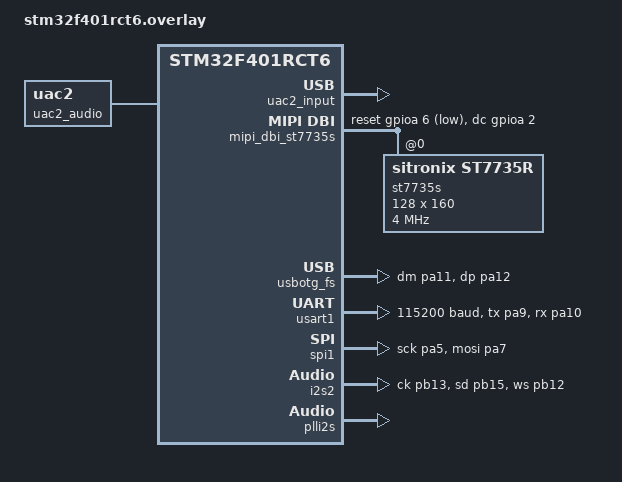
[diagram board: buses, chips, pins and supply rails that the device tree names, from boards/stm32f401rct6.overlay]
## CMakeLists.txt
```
cmake_minimum_required(VERSION 3.20.0)

if(DEFINED ZEPHYR_BASE OR DEFINED ENV{ZEPHYR_BASE})
  find_package(Zephyr REQUIRED HINTS $ENV{ZEPHYR_BASE})
  project(miniaudiodemo_zephyr)

  option(MINIAUDIO_ST7735S_ZPIX_FONT "Enable full ZPix Chinese font logger (large flash usage)" OFF)
  option(MINIAUDIO_ST7735S_DEMO_MAIN "Use minimal ST7735S hello-copilot demo entry" OFF)
  option(MINIAUDIO_PCM5102_ST7735S_MAIN "Use PCM5102A + ST7735S audio demo entry" OFF)
  option(MINIAUDIO_PCM5102_STM32F401_UAC2_MAIN "Use STM32F401 UAC2 receiver + PCM5102A entry" OFF)
  option(MINIAUDIO_PCM5102_STM32H7B0_UAC2_MAIN "Use STM32H7B0 UAC2 receiver + PCM5102A entry" OFF)
  option(MINIAUDIO_PCM5102_ST7735S_UAC2_MAIN "Deprecated alias for the STM32F401 UAC2 entry" OFF)
  option(MINIAUDIO_PCM5102A_TEST_MAIN "Use deterministic PCM5102A writer test entry" OFF)
  option(MINIAUDIO_UAC2_NULL_SINK "Build UAC2 protocol test without PCM output" OFF)
  option(MINIAUDIO_I2S_MAIN "Use direct PCM5102 I2S WAV playback entry" OFF)
  option(MINIAUDIO_STM32H7B0VBT6_DEMO_MAIN "Use minimal STM32H7B0VBT6 hello-serial demo entry" OFF)

  if(MINIAUDIO_PCM5102A_TEST_MAIN)
    target_sources(app PRIVATE
      src/main_pcm5102a_test.c
      src/audio_4_wav_data.c
      src/dspeq/cmsis_eq_stage.c
      /Users/qinshen/go/zephyrproject/CMSIS-DSP/Source/FilteringFunctions/FilteringFunctions.c
      src/pcm5102/pcm5102a_audio.c
      src/dspeq/play_audio_pipeline.c
      src/dspeq/play_pipeline_fanout.c
      src/dspeq/play_pipeline_mix.c
      src/dspeq/play_dsp_common.c
      src/dspeq/play_dsp_plugins.c
      src/dspeq/play_eq_runtime.c
      src/dspeq/eq_low_seq.c
      src/dspeq/play_pipeline.c
      src/dspeq/play_pipeline_eq_stages.c
      src/dspeq/play_eq_linear.c
      src/dspeq/play_eq_dynamic.c
      src/dspeq/play_eq_normal.c
      src/dspeq/play_multiband_dynamics.c)
  elseif(MINIAUDIO_STM32H7B0VBT6_DEMO_MAIN)
    target_sources(app PRIVATE src/main_stm32h7b0vbt6.c)
  elseif(MINIAUDIO_PCM5102_STM32F401_UAC2_MAIN OR
         MINIAUDIO_PCM5102_STM32H7B0_UAC2_MAIN OR
         MINIAUDIO_PCM5102_ST7735S_UAC2_MAIN)
    target_sources(app PRIVATE
      src/uac2/uac2_pcm5102_app.c
      src/pcm5102/play_mcu_zephyr_pcm5102.c
      src/pcm5102/pcm5102a_audio.c
      src/dspeq/play_pipeline_async.c
      src/uac2/uac2_audio_stream.c
      src/uac2/usb_uac2_device.c
      # Vendored + patched STM32 UDC driver (see src/uac2/README.md): adds the
      # isochronous OUT re-arm callback missing upstream (unmerged
      # zephyr#113622), required for UAC2 playback to survive a missed frame.
      # prj_uac2.conf sets CONFIG_UDC_STM32=n so Zephyr's own copy is not
      # also compiled.
      src/uac2/udc_stm32.c)
    if(NOT MINIAUDIO_PCM5102_STM32H7B0_UAC2_MAIN)
      target_sources(app PRIVATE
        src/dspeq/play_audio_pipeline.c
        src/dspeq/play_pipeline_async.c
        src/dspeq/play_pipeline_fanout.c
        src/dspeq/play_pipeline_mix.c
        src/dspeq/play_dsp_common.c
        src/dspeq/play_dsp_plugins.c
        src/dspeq/play_eq_runtime.c
        src/dspeq/eq_low_seq.c
        src/dspeq/play_pipeline.c
        src/dspeq/play_pipeline_eq_stages.c
        src/dspeq/play_eq_linear.c
        src/dspeq/play_eq_dynamic.c
        src/dspeq/play_eq_normal.c
        src/dspeq/play_multiband_dynamics.c
        src/audio_3_wav_data.c)
    endif()
    if(MINIAUDIO_PCM5102_STM32H7B0_UAC2_MAIN)
      target_sources(app PRIVATE src/main_pcm5102_stm32h7b0_uac2.c)
    else()
      target_sources(app PRIVATE src/main_pcm5102_stm32f401_uac2.c)
    endif()
    target_include_directories(app PRIVATE ${ZEPHYR_BASE}/drivers/usb/udc)
    if(MINIAUDIO_UAC2_NULL_SINK)
      target_compile_definitions(app PRIVATE MINIAUDIO_UAC2_NULL_SINK=1)
    endif()
    if(MINIAUDIO_PCM5102_STM32H7B0_UAC2_MAIN)
      target_compile_definitions(app PRIVATE MINIAUDIO_UAC2_H7B0_LITE=1)
    endif()
    if(DTC_OVERLAY_FILE MATCHES "uac2_implicit")
      target_compile_definitions(app PRIVATE MINIAUDIO_UAC2_IMPLICIT=1)
    endif()
  elseif(MINIAUDIO_PCM5102_ST7735S_MAIN)
    target_sources(app PRIVATE
      src/main_pcm5102_st7735s.c
      src/audio_3_wav_data.c
      src/pcm5102/pcm5102a_audio.c
      src/dspeq/play_audio_pipeline.c
      src/dspeq/play_pipeline_fanout.c
      src/dspeq/play_pipeline_mix.c
      src/dspeq/play_dsp_common.c
      src/dspeq/play_dsp_plugins.c
      src/dspeq/play_eq_runtime.c
      src/dspeq/eq_low_seq.c
      src/dspeq/play_pipeline.c
      src/dspeq/play_pipeline_eq_stages.c
      src/dspeq/play_eq_linear.c
      src/dspeq/play_eq_dynamic.c
      src/dspeq/play_eq_normal.c
      src/dspeq/play_multiband_dynamics.c
      src/pcm5102/play_mcu_zephyr_pcm5102.c)
  elseif(MINIAUDIO_I2S_MAIN)
    target_sources(app PRIVATE src/main_i2s.c src/wav_3.c)
  elseif(MINIAUDIO_ST7735S_DEMO_MAIN)
    target_sources(app PRIVATE src/main_st7735s.c)
  else()
    target_sources(app PRIVATE
      src/play_mcu.c
      src/pcm5102/play_mcu_zephyr_pcm5102.c
      src/pcm5102/pcm5102a_audio.c
      src/dspeq/play_audio_pipeline.c
      src/dspeq/play_pipeline_fanout.c
      src/dspeq/play_pipeline_mix.c
      src/dspeq/play_dsp_common.c
      src/dspeq/play_dsp_plugins.c
      src/dspeq/play_eq_runtime.c
      src/dspeq/eq_low_seq.c
      src/dspeq/play_pipeline.c
      src/dspeq/play_pipeline_eq_stages.c
      src/dspeq/play_eq_linear.c
      src/dspeq/play_eq_dynamic.c
      src/dspeq/play_eq_normal.c
      src/dspeq/play_multiband_dynamics.c)
  endif()

  if(MINIAUDIO_ST7735S_ZPIX_FONT)
    target_sources(app PRIVATE
      src/lcd/st7735s_log_display.c
      src/lcd/zpix12_font_data.c)
    target_compile_definitions(app PRIVATE MINIAUDIO_ST7735S_ZPIX_FONT=1)
  elseif(NOT (MINIAUDIO_PCM5102_STM32F401_UAC2_MAIN OR
              MINIAUDIO_PCM5102_STM32H7B0_UAC2_MAIN OR
              MINIAUDIO_PCM5102_ST7735S_UAC2_MAIN))
    # The UAC2 receiver no longer drives the ST7735S screen (see
    # uac2_pcm5102_macos_dev_log.md): serial LOG_INF status covers it, and the
    # stub driver's per-pixel blocking SPI writes were starving the USB stack
    # and audio_out threads for the better part of a second on every refresh.
    target_sources(app PRIVATE src/lcd/st7735s_log_display_stub.c)
  endif()

  target_include_directories(app PRIVATE src src/dspeq src/pcm5102 src/lcd)
  # play_dsp_state's analyzer/observer-tap buffers (4x ANALYZER_WINDOW floats)
  # are unused telemetry on this 64KB-RAM MCU target and previously silently
  # overflowed main()'s stack; shrink them here instead of the 512-sample
  # default used by host builds/tests.
  target_compile_definitions(app PRIVATE ANALYZER_WINDOW=32)
  if(MINIAUDIO_PCM5102A_TEST_MAIN)
    target_include_directories(app PRIVATE
      /Users/qinshen/go/zephyrproject/CMSIS-DSP/Include
      /Users/qinshen/go/zephyrproject/CMSIS-DSP/PrivateInclude)
    target_compile_options(app PRIVATE -Ofast -ffast-math)
  endif()
  if(DEFINED MINIAUDIO_UAC2_PID)
    target_compile_definitions(app PRIVATE MINIAUDIO_UAC2_PID=${MINIAUDIO_UAC2_PID})
  endif()
  target_compile_options(app PRIVATE -Wall -Wno-unused-parameter)
else()
project(miniaudiodemo C)

set(CMAKE_C_STANDARD 11)
option(PLAY_USE_CMSIS_DSP "Use CMSIS-DSP in play_macos and play_mcu" ON)
if(DEFINED PLAY_MACOS_USE_CMSIS_DSP)
  set(PLAY_USE_CMSIS_DSP ${PLAY_MACOS_USE_CMSIS_DSP})
endif()

add_executable(miniaudiodemo src/main.c src/miniaudio/miniaudio.c)

add_executable(three_way_macos src/three_way_crossover_macos_offline.c
                               src/miniaudio/miniaudio.c)

add_executable(play_macos
               src/play_macos.c
               src/httpctl/dsp_http_ctrl.c
               src/dspeq/play_dsp_common.c
               src/dspeq/play_dsp_plugins.c
               src/dspeq/play_eq_runtime.c
               src/dspeq/eq_low_seq.c
               src/dspeq/play_pipeline.c
               src/dspeq/play_pipeline_eq_stages.c
               src/dspeq/play_eq_linear.c
               src/dspeq/play_eq_dynamic.c
               src/dspeq/play_eq_normal.c
               src/dspeq/play_multiband_dynamics.c
               src/miniaudio/miniaudio.c)
add_executable(main_uac2_srv
               src/main_uac2_srv.c
               src/httpctl/dsp_http_ctrl.c
               src/dspeq/play_dsp_common.c
               src/dspeq/play_dsp_plugins.c
               src/dspeq/play_eq_runtime.c
               src/dspeq/eq_low_seq.c
               src/dspeq/play_pipeline.c
               src/dspeq/play_pipeline_eq_stages.c
               src/dspeq/play_eq_linear.c
               src/dspeq/play_eq_dynamic.c
               src/dspeq/play_eq_normal.c
               src/dspeq/play_multiband_dynamics.c
               src/miniaudio/miniaudio.c)
add_executable(play_mcu
               src/play_mcu.c
               src/dspeq/play_audio_pipeline.c
               src/dspeq/play_dsp_common.c
               src/dspeq/play_dsp_plugins.c
               src/dspeq/play_eq_runtime.c
               src/dspeq/eq_low_seq.c
               src/dspeq/play_pipeline.c
               src/dspeq/play_pipeline_eq_stages.c
               src/dspeq/play_eq_linear.c
               src/dspeq/play_eq_dynamic.c
               src/dspeq/play_eq_normal.c
               src/dspeq/play_multiband_dynamics.c)
add_executable(verify_eq_gain
               tests/verify_eq_gain.c
               src/dspeq/play_dsp_common.c
               src/dspeq/play_dsp_plugins.c
               src/dspeq/play_eq_runtime.c
               src/dspeq/eq_low_seq.c
               src/dspeq/play_pipeline.c
               src/dspeq/play_pipeline_eq_stages.c
               src/dspeq/play_eq_linear.c
               src/dspeq/play_eq_dynamic.c
               src/dspeq/play_eq_normal.c
               src/dspeq/play_multiband_dynamics.c)
add_executable(verify_eq_taps
               tests/verify_eq_taps.c
               src/dspeq/play_dsp_common.c
               src/dspeq/play_dsp_plugins.c
               src/dspeq/play_eq_runtime.c
               src/dspeq/eq_low_seq.c
               src/dspeq/play_pipeline.c
               src/dspeq/play_pipeline_eq_stages.c
               src/dspeq/play_eq_linear.c
               src/dspeq/play_eq_dynamic.c
               src/dspeq/play_eq_normal.c
               src/dspeq/play_multiband_dynamics.c)
add_executable(verify_eq_linear_mono
               tests/verify_eq_linear_mono.c
               src/dspeq/play_eq_linear.c
               src/miniaudio/miniaudio.c)
add_executable(verify_eq_low_seq
               tests/test_eq_low_seq.c
               src/dspeq/eq_low_seq.c)
add_executable(test_eq_dynamic
               tests/test_eq_dynamic.c
               src/dspeq/play_eq_dynamic.c)
add_executable(test_eq_normal
               tests/test_eq_normal.c
               src/dspeq/play_eq_normal.c)
add_executable(test_eq_linear
               tests/test_eq_linear.c
               src/dspeq/play_eq_linear.c)
add_executable(test_pipeline_chain
               tests/test_pipeline_chain.c
               src/dspeq/play_pipeline.c
               src/dspeq/play_pipeline_eq_stages.c
               src/dspeq/play_eq_runtime.c
               src/dspeq/eq_low_seq.c
               src/dspeq/play_eq_linear.c
               src/dspeq/play_eq_dynamic.c
               src/dspeq/play_eq_normal.c
               src/dspeq/play_multiband_dynamics.c)
add_executable(test_pipeline_cross_platform
               tests/test_pipeline_cross_platform.c
               src/dspeq/play_audio_pipeline.c
               src/dspeq/play_dsp_common.c
               src/dspeq/play_dsp_plugins.c
               src/dspeq/play_eq_runtime.c
               src/dspeq/eq_low_seq.c
               src/dspeq/play_pipeline.c
               src/dspeq/play_pipeline_eq_stages.c
               src/dspeq/play_eq_linear.c
               src/dspeq/play_eq_dynamic.c
               src/dspeq/play_eq_normal.c
               src/dspeq/play_multiband_dynamics.c)
add_executable(test_pipeline_fanout
               tests/test_pipeline_fanout.c
               src/dspeq/play_pipeline_fanout.c
               src/dspeq/play_pipeline.c)
add_executable(test_pipeline_mix
               tests/test_pipeline_mix.c
               src/dspeq/play_pipeline_mix.c
               src/dspeq/play_pipeline.c)
add_executable(test_channel_plan
               tests/test_channel_plan.c
               src/dspeq/play_channel_plan.c)
set(MINIAUDIO_APP_INCLUDE_DIRS
  src
  src/dspeq
  src/httpctl
  src/lcd
  src/pcm5102)
target_include_directories(miniaudiodemo PRIVATE ${MINIAUDIO_APP_INCLUDE_DIRS})
target_include_directories(three_way_macos PRIVATE ${MINIAUDIO_APP_INCLUDE_DIRS})
target_include_directories(play_macos PRIVATE ${MINIAUDIO_APP_INCLUDE_DIRS})
target_include_directories(main_uac2_srv PRIVATE ${MINIAUDIO_APP_INCLUDE_DIRS})
target_include_directories(play_mcu PRIVATE ${MINIAUDIO_APP_INCLUDE_DIRS})
target_include_directories(verify_eq_gain PRIVATE ${MINIAUDIO_APP_INCLUDE_DIRS})
target_include_directories(verify_eq_taps PRIVATE ${MINIAUDIO_APP_INCLUDE_DIRS})
target_include_directories(verify_eq_linear_mono PRIVATE ${MINIAUDIO_APP_INCLUDE_DIRS})
target_include_directories(verify_eq_low_seq PRIVATE ${MINIAUDIO_APP_INCLUDE_DIRS})
target_include_directories(test_eq_dynamic PRIVATE ${MINIAUDIO_APP_INCLUDE_DIRS})
target_include_directories(test_eq_normal PRIVATE ${MINIAUDIO_APP_INCLUDE_DIRS})
target_include_directories(test_eq_linear PRIVATE ${MINIAUDIO_APP_INCLUDE_DIRS})
target_include_directories(test_pipeline_chain PRIVATE ${MINIAUDIO_APP_INCLUDE_DIRS})
target_include_directories(test_pipeline_cross_platform PRIVATE ${MINIAUDIO_APP_INCLUDE_DIRS})
target_include_directories(test_pipeline_fanout PRIVATE ${MINIAUDIO_APP_INCLUDE_DIRS})
target_include_directories(test_pipeline_mix PRIVATE ${MINIAUDIO_APP_INCLUDE_DIRS})
target_include_directories(test_channel_plan PRIVATE ${MINIAUDIO_APP_INCLUDE_DIRS})

if(PLAY_USE_CMSIS_DSP)
  set(CMSIS_DSP_DIR "${CMAKE_SOURCE_DIR}/../CMSIS-DSP")
  if(EXISTS "${CMSIS_DSP_DIR}/CMakeLists.txt")
    set(HOST ON CACHE BOOL "Build CMSIS-DSP for host" FORCE)
    set(DISABLEFLOAT16 ON CACHE BOOL "Disable float16 kernels" FORCE)
    add_subdirectory(${CMSIS_DSP_DIR} ${CMAKE_BINARY_DIR}/cmsis-dsp)
    target_link_libraries(play_macos PRIVATE CMSISDSP)
    target_link_libraries(main_uac2_srv PRIVATE CMSISDSP)
    target_link_libraries(play_mcu PRIVATE CMSISDSP)
    target_link_libraries(verify_eq_gain PRIVATE CMSISDSP)
    target_link_libraries(verify_eq_taps PRIVATE CMSISDSP)
    target_link_libraries(verify_eq_linear_mono PRIVATE CMSISDSP)
    target_link_libraries(verify_eq_low_seq PRIVATE CMSISDSP)
    target_link_libraries(test_eq_linear PRIVATE CMSISDSP)
    target_compile_definitions(play_macos PRIVATE USE_CMSIS_DSP=1)
    target_compile_definitions(main_uac2_srv PRIVATE USE_CMSIS_DSP=1)
    target_compile_definitions(play_mcu PRIVATE USE_CMSIS_DSP=1)
    target_compile_definitions(verify_eq_gain PRIVATE USE_CMSIS_DSP=1)
    target_compile_definitions(verify_eq_taps PRIVATE USE_CMSIS_DSP=1)
    target_compile_definitions(test_eq_linear PRIVATE USE_CMSIS_DSP=1)
  else()
    message(WARNING "CMSIS-DSP not found at ${CMSIS_DSP_DIR}; play_macos/play_mcu will use libc math fallback.")
  endif()
endif()

if(APPLE)
  target_link_libraries(
    miniaudiodemo PRIVATE "-framework CoreAudio" "-framework CoreFoundation"
                          "-framework AudioToolbox")
elseif(UNIX)
  target_link_libraries(miniaudiodemo PRIVATE pthread m dl)
endif()

if(APPLE)
  target_link_libraries(
    play_macos PRIVATE "-framework CoreAudio" "-framework CoreFoundation"
                       "-framework AudioToolbox")
  target_link_libraries(
    main_uac2_srv PRIVATE "-framework CoreAudio" "-framework CoreFoundation"
                         "-framework AudioToolbox")
elseif(UNIX)
  target_link_libraries(play_macos PRIVATE pthread m dl)
  target_link_libraries(main_uac2_srv PRIVATE pthread m dl)
endif()

if(APPLE)
  target_link_libraries(verify_eq_gain PRIVATE m)
  target_link_libraries(verify_eq_taps PRIVATE m)
  target_link_libraries(
    verify_eq_linear_mono PRIVATE "-framework CoreAudio" "-framework CoreFoundation"
                                 "-framework AudioToolbox")
  target_link_libraries(verify_eq_low_seq PRIVATE m)
  target_link_libraries(test_eq_dynamic PRIVATE m)
  target_link_libraries(test_eq_normal PRIVATE m)
  target_link_libraries(test_eq_linear PRIVATE m)
  target_link_libraries(test_pipeline_chain PRIVATE m)
  target_link_libraries(test_pipeline_cross_platform PRIVATE m)
  target_link_libraries(test_pipeline_fanout PRIVATE m)
  target_link_libraries(test_pipeline_mix PRIVATE m)
  target_link_libraries(test_channel_plan PRIVATE m)
elseif(UNIX)
  target_link_libraries(verify_eq_gain PRIVATE pthread m dl)
  target_link_libraries(verify_eq_taps PRIVATE pthread m dl)
  target_link_libraries(verify_eq_linear_mono PRIVATE pthread m dl)
  target_link_libraries(verify_eq_low_seq PRIVATE pthread m dl)
  target_link_libraries(test_eq_dynamic PRIVATE pthread m dl)
  target_link_libraries(test_eq_normal PRIVATE pthread m dl)
  target_link_libraries(test_eq_linear PRIVATE pthread m dl)
  target_link_libraries(test_pipeline_chain PRIVATE pthread m dl)
  target_link_libraries(test_pipeline_cross_platform PRIVATE pthread m dl)
  target_link_libraries(test_pipeline_fanout PRIVATE pthread m dl)
  target_link_libraries(test_pipeline_mix PRIVATE pthread m dl)
  target_link_libraries(test_channel_plan PRIVATE pthread m dl)
endif()

if(APPLE)
  target_link_libraries(
    three_way_macos PRIVATE "-framework CoreAudio" "-framework CoreFoundation"
                            "-framework AudioToolbox")
elseif(UNIX)
  target_link_libraries(three_way_macos PRIVATE pthread m dl)
endif()

target_compile_options(miniaudiodemo PRIVATE -Wall -Wno-unused-parameter)
target_compile_options(three_way_macos PRIVATE -Wall -Wno-unused-parameter)
target_compile_options(play_macos PRIVATE -Wall -Wno-unused-parameter)
target_compile_options(main_uac2_srv PRIVATE -Wall -Wno-unused-parameter)
target_compile_options(play_mcu PRIVATE -Wall -Wno-unused-parameter)
target_compile_options(verify_eq_gain PRIVATE -Wall -Wno-unused-parameter)
target_compile_options(verify_eq_taps PRIVATE -Wall -Wno-unused-parameter)
target_compile_options(verify_eq_linear_mono PRIVATE -Wall -Wno-unused-parameter)
target_compile_options(verify_eq_low_seq PRIVATE -Wall -Wno-unused-parameter)
target_compile_options(test_eq_dynamic PRIVATE -Wall -Wno-unused-parameter)
target_compile_options(test_eq_normal PRIVATE -Wall -Wno-unused-parameter)
target_compile_options(test_eq_linear PRIVATE -Wall -Wno-unused-parameter)
target_compile_options(test_pipeline_chain PRIVATE -Wall -Wno-unused-parameter)
target_compile_options(test_pipeline_cross_platform PRIVATE -Wall -Wno-unused-parameter)
target_compile_options(test_pipeline_fanout PRIVATE -Wall -Wno-unused-parameter)
target_compile_options(test_pipeline_mix PRIVATE -Wall -Wno-unused-parameter)
target_compile_options(test_channel_plan PRIVATE -Wall -Wno-unused-parameter)

# 编译后把可执行文件复制到项目根目录，方便直接运行（test.wav 也在根目录）
add_custom_command(
  TARGET miniaudiodemo
  POST_BUILD
  COMMAND ${CMAKE_COMMAND} -E copy $<TARGET_FILE:miniaudiodemo>
          ${CMAKE_SOURCE_DIR}/miniaudiodemo
  COMMENT "Copied miniaudiodemo to project root")
# 编译后把可执行文件复制到项目根目录，方便直接运行（test.wav 也在根目录）
add_custom_command(
  TARGET three_way_macos
  POST_BUILD
  COMMAND ${CMAKE_COMMAND} -E copy $<TARGET_FILE:three_way_macos>
          ${CMAKE_SOURCE_DIR}/three_way_macos
  COMMENT "Copied three_way_macos to project root")

# 编译后把可执行文件复制到项目根目录，方便直接运行（test.wav 也在根目录）
add_custom_command(
  TARGET play_macos
  POST_BUILD
  COMMAND ${CMAKE_COMMAND} -E copy $<TARGET_FILE:play_macos>
          ${CMAKE_SOURCE_DIR}/play_macos
  COMMENT "Copied play_macos to project root")

add_custom_command(
  TARGET play_mcu
  POST_BUILD
  COMMAND ${CMAKE_COMMAND} -E copy $<TARGET_FILE:play_mcu>
    ${CMAKE_SOURCE_DIR}/play_mcu
  COMMENT "Copied play_mcu to project root")

add_custom_command(
  TARGET verify_eq_gain
  POST_BUILD
  COMMAND ${CMAKE_COMMAND} -E copy $<TARGET_FILE:verify_eq_gain>
    ${CMAKE_SOURCE_DIR}/verify_eq_gain
  COMMENT "Copied verify_eq_gain to project root")

add_custom_command(
  TARGET verify_eq_taps
  POST_BUILD
  COMMAND ${CMAKE_COMMAND} -E copy $<TARGET_FILE:verify_eq_taps>
    ${CMAKE_SOURCE_DIR}/verify_eq_taps
  COMMENT "Copied verify_eq_taps to project root")

add_custom_command(
  TARGET verify_eq_linear_mono
  POST_BUILD
  COMMAND ${CMAKE_COMMAND} -E copy $<TARGET_FILE:verify_eq_linear_mono>
    ${CMAKE_SOURCE_DIR}/verify_eq_linear_mono
  COMMENT "Copied verify_eq_linear_mono to project root")

add_custom_command(
  TARGET verify_eq_low_seq
  POST_BUILD
  COMMAND ${CMAKE_COMMAND} -E copy $<TARGET_FILE:verify_eq_low_seq>
    ${CMAKE_SOURCE_DIR}/verify_eq_low_seq
  COMMENT "Copied verify_eq_low_seq to project root")

add_custom_command(
  TARGET test_eq_dynamic
  POST_BUILD
  COMMAND ${CMAKE_COMMAND} -E copy $<TARGET_FILE:test_eq_dynamic>
    ${CMAKE_SOURCE_DIR}/test_eq_dynamic
  COMMENT "Copied test_eq_dynamic to project root")

add_custom_command(
  TARGET test_eq_normal
  POST_BUILD
  COMMAND ${CMAKE_COMMAND} -E copy $<TARGET_FILE:test_eq_normal>
    ${CMAKE_SOURCE_DIR}/test_eq_normal
  COMMENT "Copied test_eq_normal to project root")

add_custom_command(
  TARGET test_eq_linear
  POST_BUILD
  COMMAND ${CMAKE_COMMAND} -E copy $<TARGET_FILE:test_eq_linear>
    ${CMAKE_SOURCE_DIR}/test_eq_linear
  COMMENT "Copied test_eq_linear to project root")

add_custom_command(
  TARGET test_pipeline_chain
  POST_BUILD
  COMMAND ${CMAKE_COMMAND} -E copy $<TARGET_FILE:test_pipeline_chain>
    ${CMAKE_SOURCE_DIR}/test_pipeline_chain
  COMMENT "Copied test_pipeline_chain to project root")

add_custom_command(
  TARGET test_pipeline_cross_platform
  POST_BUILD
  COMMAND ${CMAKE_COMMAND} -E copy $<TARGET_FILE:test_pipeline_cross_platform>
    ${CMAKE_SOURCE_DIR}/test_pipeline_cross_platform
  COMMENT "Copied test_pipeline_cross_platform to project root")

add_custom_command(
  TARGET test_pipeline_fanout
  POST_BUILD
  COMMAND ${CMAKE_COMMAND} -E copy $<TARGET_FILE:test_pipeline_fanout>
    ${CMAKE_SOURCE_DIR}/test_pipeline_fanout
  COMMENT "Copied test_pipeline_fanout to project root")

add_custom_command(
  TARGET test_pipeline_mix
  POST_BUILD
  COMMAND ${CMAKE_COMMAND} -E copy $<TARGET_FILE:test_pipeline_mix>
    ${CMAKE_SOURCE_DIR}/test_pipeline_mix
  COMMENT "Copied test_pipeline_mix to project root")

add_custom_command(
  TARGET test_channel_plan
  POST_BUILD
  COMMAND ${CMAKE_COMMAND} -E copy $<TARGET_FILE:test_channel_plan>
    ${CMAKE_SOURCE_DIR}/test_channel_plan
  COMMENT "Copied test_channel_plan to project root")

add_custom_target(run_eq_unit_tests
  COMMAND ${CMAKE_SOURCE_DIR}/verify_eq_low_seq
  COMMAND ${CMAKE_SOURCE_DIR}/test_eq_dynamic
  COMMAND ${CMAKE_SOURCE_DIR}/test_eq_normal
  COMMAND ${CMAKE_SOURCE_DIR}/test_eq_linear
  COMMAND ${CMAKE_SOURCE_DIR}/test_pipeline_chain
  COMMAND ${CMAKE_SOURCE_DIR}/test_pipeline_cross_platform
  COMMAND ${CMAKE_SOURCE_DIR}/test_pipeline_fanout
  COMMAND ${CMAKE_SOURCE_DIR}/test_pipeline_mix
  COMMAND ${CMAKE_SOURCE_DIR}/test_channel_plan
  DEPENDS verify_eq_low_seq test_eq_dynamic test_eq_normal test_eq_linear test_pipeline_chain test_pipeline_cross_platform test_pipeline_fanout test_pipeline_mix test_channel_plan)
endif()
```

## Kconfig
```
# General configuration options
#
# Copyright (c) 2014-2015 Wind River Systems, Inc.
# SPDX-License-Identifier: Apache-2.0

mainmenu "Zephyr Kernel Configuration"

# Re-select what CONFIG_UDC_STM32 would have selected, since prj_uac2.conf
# sets CONFIG_UDC_STM32=n to use the vendored+patched src/uac2/udc_stm32.c
# instead (see src/uac2/README.md). These targets have no Kconfig prompt of
# their own, so they cannot be assigned directly from a .conf fragment; this
# is done through `select` instead. Only active for the UAC2 build variant
# (CONFIG_USB_DEVICE_STACK_NEXT=y + CONFIG_UDC_STM32=n); every other build in
# this project (play_mcu.c, demo, pcm, etc.) is unaffected.
config MINIAUDIO_UAC2_UDC_STM32_FIX
	bool
	default y if USB_DEVICE_STACK_NEXT && !UDC_STM32
	select USE_STM32_LL_USB
	select USE_STM32_HAL_PCD
	select USE_STM32_HAL_PCD_EX
	select UDC_DRIVER_HAS_HIGH_SPEED_SUPPORT
	select STM32_USB_COMMON
	select PINCTRL

# These are normally declared "if UDC_STM32" in modules/Kconfig.stm32, so they
# lose their default the moment CONFIG_UDC_STM32=n. src/uac2/udc_stm32.c still
# references them unconditionally (for OTG FS/HS; the ST-USB-only options
# CONFIG_UDC_STM32_STUSB_ISO_*_EP_NUM are compiled out by
# `#if !DT_HAS_COMPAT_STATUS_OKAY(st_stm32_usb)` and are not needed here).
# Re-supplying just the default (no re-declared prompt/type) is valid Kconfig
# and only takes effect while the original "if UDC_STM32" block is inactive.
if MINIAUDIO_UAC2_UDC_STM32_FIX

config UDC_STM32_STACK_SIZE
	default 512

config UDC_STM32_THREAD_PRIORITY
	default 8

config UDC_STM32_MAX_QMESSAGES
	default 8

config UDC_STM32_OTG_RXFIFO_BASELINE_SIZE
	default 600

endif # MINIAUDIO_UAC2_UDC_STM32_FIX

source "Kconfig.zephyr"
```

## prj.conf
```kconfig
CONFIG_MAIN_STACK_SIZE=2048
CONFIG_HEAP_MEM_POOL_SIZE=8192

CONFIG_GPIO=y
CONFIG_I2S=y
CONFIG_DMA=y
CONFIG_I2S_STM32_TX_BLOCK_COUNT=12
CONFIG_SPI=y
CONFIG_DISPLAY=y
CONFIG_ST7735R=y
CONFIG_MIPI_DBI=y

CONFIG_LOG=y
CONFIG_LOG_DEFAULT_LEVEL=3
CONFIG_SERIAL=y
CONFIG_CONSOLE=y
CONFIG_USB_DEVICE_STACK=y
CONFIG_USB_CDC_ACM=y
CONFIG_USB_DEVICE_INITIALIZE_AT_BOOT=y
CONFIG_UART_CONSOLE=y
CONFIG_UART_LINE_CTRL=y
CONFIG_UART_INTERRUPT_DRIVEN=y

# Route Zephyr console over USB CDC ACM (/dev/cu.usbmodem* on macOS)
CONFIG_USB_DEVICE_PRODUCT="miniaudiodemo"
CONFIG_USB_DEVICE_VID=0x2FE3
CONFIG_USB_DEVICE_PID=0x0100
```

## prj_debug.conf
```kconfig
# Debug profile: USB CDC ACM console on PA11/PA12.
CONFIG_LOG=y
CONFIG_LOG_DEFAULT_LEVEL=3
CONFIG_SERIAL=y
CONFIG_CONSOLE=y
CONFIG_UART_CONSOLE=y
CONFIG_UART_LINE_CTRL=y
CONFIG_UART_INTERRUPT_DRIVEN=y

CONFIG_USB_DEVICE_STACK=y
CONFIG_USB_CDC_ACM=y
CONFIG_USB_DEVICE_INITIALIZE_AT_BOOT=y
CONFIG_USB_DEVICE_PRODUCT="miniaudiodemo-debug"
CONFIG_USB_DEVICE_VID=0x2FE3
CONFIG_USB_DEVICE_PID=0x0100
```

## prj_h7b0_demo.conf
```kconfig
# H7B0 hello-copilot serial demo: pure USART console (no USB stack).
CONFIG_SERIAL=y
CONFIG_CONSOLE=y
CONFIG_UART_CONSOLE=y
CONFIG_PRINTK=y

CONFIG_USB_DEVICE_STACK=n
CONFIG_USB_DEVICE_STACK_NEXT=n
```

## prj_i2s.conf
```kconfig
CONFIG_MAIN_STACK_SIZE=4096
CONFIG_HEAP_MEM_POOL_SIZE=16384

CONFIG_GPIO=y
CONFIG_I2S=y


CONFIG_LOG=y
CONFIG_LOG_DEFAULT_LEVEL=3
CONFIG_SERIAL=y
CONFIG_CONSOLE=y
CONFIG_UART_CONSOLE=y
CONFIG_UART_LINE_CTRL=y
CONFIG_UART_INTERRUPT_DRIVEN=y
```

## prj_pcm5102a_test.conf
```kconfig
# The test uses static audio buffers; reserve RAM for the DSP runtime instead.
CONFIG_HEAP_MEM_POOL_SIZE=4096
CONFIG_MAIN_STACK_SIZE=4096
CONFIG_CMSIS_DSP=y
CONFIG_CMSIS_DSP_FLOAT16=n
```

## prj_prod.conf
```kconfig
# Production profile: keep display/audio drivers, but disable debug output.
CONFIG_GPIO=y
CONFIG_I2S=y
CONFIG_DMA=y
CONFIG_I2S_STM32_TX_BLOCK_COUNT=12
CONFIG_SPI=y
CONFIG_DISPLAY=y
CONFIG_ST7735R=y
CONFIG_MIPI_DBI=y

CONFIG_LOG=n
CONFIG_CONSOLE=n
CONFIG_UART_CONSOLE=n
CONFIG_SERIAL=n
CONFIG_USB_DEVICE_STACK=n
CONFIG_USB_CDC_ACM=n
```

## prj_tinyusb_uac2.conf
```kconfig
CONFIG_USB_DEVICE_STACK=n
CONFIG_USB_DEVICE_STACK_NEXT=n
CONFIG_MAIN_STACK_SIZE=4096
CONFIG_HEAP_MEM_POOL_SIZE=8192
CONFIG_GPIO=y
CONFIG_I2S=y
CONFIG_DMA=y
CONFIG_I2S_STM32_TX_BLOCK_COUNT=12
CONFIG_LOG=y
CONFIG_LOG_DEFAULT_LEVEL=3
CONFIG_SERIAL=y
CONFIG_CONSOLE=y
CONFIG_UART_CONSOLE=y
CONFIG_UART_INTERRUPT_DRIVEN=y
```

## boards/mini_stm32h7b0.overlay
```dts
#include "stm32h7b0vbt6.overlay"
```

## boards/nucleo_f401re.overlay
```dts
/* Auto-picked overlay for west build -b nucleo_f401re */
#include "stm32f401rct6.overlay"
```

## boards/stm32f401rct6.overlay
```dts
/*
 * STM32F401RCT6 + PCM5102A overlay (for Zephyr 4.4.2)
 * Build with: west build -b nucleo_f401re . -- -DDTC_OVERLAY_FILE=boards/stm32f401rct6.overlay
 */

#include <zephyr/dt-bindings/usb/audio.h>

/ {
	uac2_audio: usb_audio2 {
		compatible = "zephyr,uac2";
		status = "okay";
		full-speed;
		audio-function = <AUDIO_FUNCTION_OTHER>;

		uac2_clock: clock-source {
			compatible = "zephyr,uac2-clock-source";
			clock-type = "internal-programmable";
			frequency-control = "host-programmable";
			sampling-frequencies = <48000>;
		};

		uac2_input: usb-input-terminal {
			compatible = "zephyr,uac2-input-terminal";
			clock-source = <&uac2_clock>;
			terminal-type = <USB_TERMINAL_STREAMING>;
			front-left;
			front-right;
		};

		uac2_output: pcm5102a-output-terminal {
			compatible = "zephyr,uac2-output-terminal";
			data-source = <&uac2_input>;
			clock-source = <&uac2_clock>;
			terminal-type = <OUTPUT_TERMINAL_HEADPHONES>;
		};

		uac2_stream: audio-streaming {
			compatible = "zephyr,uac2-audio-streaming";
			linked-terminal = <&uac2_input>;
			subslot-size = <2>;
			bit-resolution = <16>;
		};
	};

	chosen {
		miniaudio,i2s-tx = &i2s2;
		zephyr,console = &board_cdc_acm_uart;
		zephyr,shell-uart = &board_cdc_acm_uart;
		zephyr,display = &st7735s;
	};

	mipi_dbi_st7735s: mipi_dbi_st7735s {
		compatible = "zephyr,mipi-dbi-spi";
		spi-dev = <&spi1>;
		dc-gpios = <&gpioa 2 GPIO_ACTIVE_HIGH>;
		reset-gpios = <&gpioa 6 GPIO_ACTIVE_LOW>;
		write-only;
		#address-cells = <1>;
		#size-cells = <0>;

		st7735s: st7735r@0 {
			compatible = "sitronix,st7735r";
			reg = <0>;
			mipi-max-frequency = <4000000>;
			mipi-mode = "MIPI_DBI_MODE_SPI_4WIRE";
			width = <128>;
			height = <160>;
			x-offset = <2>;
			y-offset = <1>;
			madctl = <0x00>;
			colmod = <0x05>;
			vmctr1 = <0x1a>;
			invctr = <0x03>;
			pwctr1 = [28 08 04];
			pwctr2 = [c0];
			pwctr3 = [0d 00];
			pwctr4 = [8d 2a];
			pwctr5 = [8d ee];
			frmctr1 = [05 3c 3c];
			frmctr2 = [05 3c 3c];
			frmctr3 = [05 3c 3c 05 3c 3c];
			caset = [00 02 00 81];
			raset = [00 01 00 a0];
			gamctrp1 = [04 22 07 0a 2e 30 25 2a 28 26 2e 3a 00 01 03 13];
			gamctrn1 = [04 16 06 0d 2d 26 23 27 27 25 2d 3b 00 01 04 13];
		};
	};

	st7735s_ctrl: st7735s-ctrl {
		blk-gpios = <&gpiob 1 GPIO_ACTIVE_HIGH>;
	};
};

zephyr_udc0: &usbotg_fs {
};

&usart1 {
	pinctrl-0 = <&usart1_tx_pa9 &usart1_rx_pa10>;
	pinctrl-names = "default";
	current-speed = <115200>;
	status = "okay";
};

&spi1 {
	pinctrl-0 = <&spi1_sck_pa5 &spi1_mosi_pa7>;
	pinctrl-names = "default";
	cs-gpios = <&gpioa 3 GPIO_ACTIVE_LOW>;
	status = "okay";
};

&dma1 {
	status = "okay";
};

&i2s2 {
	pinctrl-0 = <&i2s2_ck_pb13 &i2s2_sd_pb15 &i2s2_ws_pb12>;
	pinctrl-names = "default";
	clocks = <&rcc STM32_CLOCK(APB1, 14)>,
			 <&rcc STM32_SRC_PLLI2S_R I2S_SEL(0)>;
	status = "okay";
};

/* SPI2 and I2S2 share peripheral registers on STM32F401. */
&spi2 {
	status = "disabled";
};

/* STM32F401RCT6: 256KB Flash, 64KB SRAM */
&flash0 {
	reg = <0x08000000 DT_SIZE_K(256)>;
};

&sram0 {
	reg = <0x20000000 DT_SIZE_K(64)>;
};

/* Run standalone without the ST-Link MCO clock. */
&clk_hse {
	status = "disabled";
};

&clk_hsi {
	status = "okay";
};

&pll {
	div-m = <16>;
	mul-n = <336>;
	div-p = <4>;
	div-q = <7>;
	clocks = <&clk_hsi>;
	status = "okay";
};

&rcc {
	clocks = <&pll>;
	clock-frequency = <DT_FREQ_M(84)>;
	ahb-prescaler = <1>;
	apb1-prescaler = <2>;
	apb2-prescaler = <1>;
};

&plli2s {
	div-m = <16>;
	mul-n = <192>;
	div-r = <5>;
	clocks = <&clk_hsi>;
	status = "okay";
};

&usbotg_fs {
	pinctrl-0 = <&usb_otg_fs_dm_pa11 &usb_otg_fs_dp_pa12>;
	pinctrl-names = "default";
	board_cdc_acm_uart: board_cdc_acm_uart {
		compatible = "zephyr,cdc-acm-uart";
	};
	status = "okay";
};
```

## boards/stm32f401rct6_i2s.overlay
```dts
/*
 * STM32F401RCT6 + PCM5102A direct I2S playback overlay
 * Build with:
 *   west build -b nucleo_f401re . --pristine -- -DCONF_FILE=prj_i2s.conf -DDTC_OVERLAY_FILE=boards/stm32f401rct6_i2s.overlay -DMINIAUDIO_I2S_MAIN=ON
 */


/ {
	chosen {
		miniaudio,i2s-tx = &i2s2;
		zephyr,console = &usart1;
		zephyr,shell-uart = &usart1;
	};
};

&usart1 {
	pinctrl-0 = <&usart1_tx_pa9 &usart1_rx_pa10>;
	pinctrl-names = "default";
	current-speed = <115200>;
	status = "okay";
};

&spi1 {
	status = "disabled";
};

&dma1 {
	status = "okay";
};
 

&i2s2 {
	pinctrl-0 = <&i2s2_ck_pb13 &i2s2_sd_pb15 &i2s2_ws_pb12>;
	pinctrl-names = "default";
	status = "okay";
};

/* SPI2 and I2S2 share peripheral registers on STM32F401. */
&spi2 {
	status = "disabled";
};

/* STM32F401RCT6: 256KB Flash, 64KB SRAM */
&flash0 {
	reg = <0x08000000 DT_SIZE_K(256)>;
};

&sram0 {
	reg = <0x20000000 DT_SIZE_K(64)>;
};
```

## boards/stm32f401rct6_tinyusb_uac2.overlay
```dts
#include "stm32f401rct6.overlay"

/ {
	chosen {
		zephyr,console = &usart1;
		zephyr,shell-uart = &usart1;
	};
};
```

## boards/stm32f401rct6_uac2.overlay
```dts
#include "stm32f401rct6.overlay"

/ {
	chosen {
		zephyr,console = &usart1;
		zephyr,shell-uart = &usart1;
	};
};
```

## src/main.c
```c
#include "miniaudio/miniaudio.h"
#include <stdio.h>

typedef struct
{
    ma_decoder decoder;
} AudioEngine;

// 处理音频数据的回调函数
void data_callback(ma_device* pDevice, void* pOutput, const void* pInput, ma_uint32 frameCount)
{
    AudioEngine* pEngine = (AudioEngine*)pDevice->pUserData;

    if (pEngine == NULL) return;

    ma_uint64 framesRead = 0;
    ma_decoder_read_pcm_frames(&pEngine->decoder, pOutput, frameCount, &framesRead);

    if (framesRead < frameCount)
    {
        ma_decoder_seek_to_pcm_frame(&pEngine->decoder, 0); // 循环播放
    }
}

int main()
{
    ma_result result;
    AudioEngine engine;
    ma_device_config deviceConfig = {0};
    ma_device device;

    const char* filePath = "test.wav";
    if ((result = ma_decoder_init_file(filePath, NULL, &engine.decoder)) != MA_SUCCESS)
    {
        printf("无法打开 WAV 文件 %s (错误码: %d)\n", filePath, result);
        return -1;
    }
    printf("已加载: %s  格式=%d 声道=%u 采样率=%u\n", filePath,
           engine.decoder.outputFormat, engine.decoder.outputChannels, engine.decoder.outputSampleRate);

    ma_uint32 sampleRate = engine.decoder.outputSampleRate;
    ma_uint32 channels = engine.decoder.outputChannels;

    // 配置播放设备
    deviceConfig = ma_device_config_init(ma_device_type_playback);
    deviceConfig.playback.format = engine.decoder.outputFormat;
    deviceConfig.playback.channels = channels;
    deviceConfig.sampleRate = sampleRate;
    deviceConfig.dataCallback = data_callback;
    deviceConfig.pUserData = &engine;

    // 初始化播放设备
    if (ma_device_init(NULL, &deviceConfig, &device) != MA_SUCCESS)
    {
        printf("无法初始化播放设备\n");
        ma_decoder_uninit(&engine.decoder);
        return -1;
    }

    // 启动音频播放
    if ((result = ma_device_start(&device)) != MA_SUCCESS)
    {
        printf("无法启动播放设备\n");
        ma_device_uninit(&device);
        ma_decoder_uninit(&engine.decoder);
        return -1;
    }

    printf("正在播放... 按回车键退出。\n");
    getchar();

    // 清理资源
    ma_device_uninit(&device);
    ma_decoder_uninit(&engine.decoder);

    return 0;
}
```

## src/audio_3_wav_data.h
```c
#ifndef AUDIO_3_WAV_DATA_H_
#define AUDIO_3_WAV_DATA_H_

extern const unsigned char g_audio_3_wav[];
extern const unsigned int g_audio_3_wav_len;

#endif
```

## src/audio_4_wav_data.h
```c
#ifndef AUDIO_4_WAV_DATA_H_
#define AUDIO_4_WAV_DATA_H_

extern const unsigned char g_audio_4_wav[];
extern const unsigned int g_audio_4_wav_len;

#endif
```

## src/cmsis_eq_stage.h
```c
#ifndef CMSIS_EQ_STAGE_H_
#define CMSIS_EQ_STAGE_H_

#include <stdint.h>

#include "dspeq/play_pipeline.h"

#if defined(USE_CMSIS_DSP) || defined(CONFIG_CMSIS_DSP)
#include <arm_math.h>
#endif

typedef struct
{
    uint32_t channels;
    float coefficients[5];
#if defined(USE_CMSIS_DSP) || defined(CONFIG_CMSIS_DSP)
    arm_biquad_casd_df1_inst_f32 filters[2];
    float state[2][4];
#endif
} cmsis_eq_stage;

int cmsis_eq_stage_init(cmsis_eq_stage *stage,
                        uint32_t sampleRate,
                        uint32_t channels,
                        float frequencyHz,
                        float gainDb,
                        float q);
int cmsis_eq_stage_process(void *ctx, play_frame_block *block);

#endif
```

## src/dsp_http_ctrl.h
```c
#ifndef DSP_HTTP_CTRL_H
#define DSP_HTTP_CTRL_H

#include "miniaudio/miniaudio.h"
#include "play_dsp_common.h"

#include <pthread.h>
#include <stdatomic.h>
#include <stdint.h>

#define HTTP_PORT 8080

typedef struct
{
    void* userData;
    ma_result (*read_frames)(void* userData, float* out, ma_uint64 frameCount, ma_uint64* framesRead);
    ma_result (*rewind)(void* userData);
} pcm_input_stream;

typedef struct
{
    pcm_input_stream input;
    play_dsp_state dsp;
    ma_uint32 channels;
    uint8_t rmsLogEnabled;
    uint32_t rmsLogWindowFrames;
    uint32_t rmsLogFrameAccum;
    double rmsLogSumSq[MAX_CHANNELS];
    pthread_mutex_t dspMutex;
} app_audio_state;

typedef struct
{
    app_audio_state* app;
    atomic_bool running;
    int serverFd;
    pthread_t thread;
} http_server_state;

void* dsp_http_ctrl_thread_main(void* userData);

#endif
```

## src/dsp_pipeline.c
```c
#include <math.h>
#include <stdlib.h>
#include "miniaudio/miniaudio.h"
#include "dsp_pipeline.h"

// 增益节点私有数据
typedef struct
{
    _Atomic float targetGain; // 线程安全的原子目标值
    float currentGain; // 当前平滑值（仅音频线程访问）
    float smoothingFactor;
    ma_uint32 channels;
} GainNodeData;

// 增益节点 - 初始化
static void gain_onInit(void* instance, const DspContext* context)
{
    GainNodeData* data = (GainNodeData*)instance;
    data->channels = context->channels;

    // 50ms 平滑时间常数
    float timeConstant = 0.050f;
    data->smoothingFactor = 1.0f - expf(-1.0f / (context->sampleRate * timeConstant));
}

// 增益节点 - 核心音频处理（交错式 Interleaved 内存处理）
static void gain_onProcess(void* instance, float* pFrames, ma_uint32 frameCount)
{
    GainNodeData* data = (GainNodeData*)instance;

    // 使用 memory_order_relaxed 获取原子变量，避免由于 CPU 缓存同步导致的流水线停顿
    float target = atomic_load_explicit(&data->targetGain, memory_order_relaxed);
    ma_uint32 totalSamples = frameCount * data->channels;

    // 快路径：如果增益已经稳定，直接执行高度向量化的循环
    if (fabsf(data->currentGain - target) < 1e-5f)
    {
        data->currentGain = target;
        for (ma_uint32 i = 0; i < totalSamples; ++i)
        {
            pFrames[i] *= target;
        }
    }
    else
    {
        // 慢路径：逐帧进行线性/指数平滑，防止爆音
        ma_uint32 sampleIndex = 0;
        for (ma_uint32 f = 0; f < frameCount; ++f)
        {
            data->currentGain += (target - data->currentGain) * data->smoothingFactor;

            for (ma_uint32 c = 0; c < data->channels; ++c)
            {
                pFrames[sampleIndex++] *= data->currentGain;
            }
        }
    }
}

static const char* gain_getName(void* instance)
{
    (void)instance;
    return "VolumeGainNode";
}

// 导出虚函数表
static const DspNodeVTable g_GainNodeVTable = {
    .onInit = gain_onInit,
    .onProcess = gain_onProcess,
    .getName = gain_getName
};

// 供主线程调用的外部 API：安全修改音量
void gain_node_set_gain(GainNodeData* data, float newGain)
{
    atomic_store_explicit(&data->targetGain, newGain, memory_order_relaxed);
}
```

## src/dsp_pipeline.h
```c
#ifndef DSP_PIPELINE_H
#define DSP_PIPELINE_H

#include "miniaudio/miniaudio.h"
#include <stdatomic.h>
#include <stdbool.h>

#define MAX_DSP_NODES 16

// DSP 节点共享上下文
typedef struct
{
    ma_uint32 sampleRate;
    ma_uint32 channels;
} DspContext;

// 虚函数表：定义 DSP 节点的统一行为
typedef struct DspNodeVTable
{
    void (*onInit)(void* instance, const DspContext* context);
    void (*onProcess)(void* instance, float* pFrames, ma_uint32 frameCount);
    const char* (*getName)(void* instance);
} DspNodeVTable;

// DSP 节点基类结构体
typedef struct
{
    const DspNodeVTable* vtable;
    void* instanceData; // 指向具体节点实现的数据（如 GainData, FilterData）
} DspNode;

// DSP 流水线管理器
typedef struct
{
    DspContext context;
    DspNode nodes[MAX_DSP_NODES];
    ma_uint32 nodeCount;
} DspPipeline;

#endif // DSP_PIPELINE_H
```

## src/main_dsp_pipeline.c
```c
#include <stdio.h>

#ifdef _WIN32
#include <windows.h>
#define sleep_ms(ms) Sleep(ms)
#else
#include <unistd.h>
#define sleep_ms(ms) usleep((ms) * 1000)
#endif

#include "miniaudio/miniaudio.h"
#include "dsp_pipeline.h"


void pipeline_init(DspPipeline* pipeline, ma_uint32 sampleRate, ma_uint32 channels)
{
    pipeline->context.sampleRate = sampleRate;
    pipeline->context.channels = channels;
    pipeline->nodeCount = 0;
    memset(pipeline->nodes, 0, sizeof(pipeline->nodes));
}

// 向流水线追加节点
bool pipeline_append_node(DspPipeline* pipeline, const DspNodeVTable* vtable, void* instanceData)
{
    if (pipeline->nodeCount >= MAX_DSP_NODES)
    {
        return false; // 流水线已满
    }

    ma_uint32 index = pipeline->nodeCount;
    pipeline->nodes[index].vtable = vtable;
    pipeline->nodes[index].instanceData = instanceData;

    // 立即初始化该节点
    if (vtable->onInit)
    {
        vtable->onInit(instanceData, &pipeline->context);
    }

    pipeline->nodeCount++;
    return true;
}

// 执行流水线（在 miniaudio 驱动线程中被安全、无阻塞地调用）
void pipeline_process(DspPipeline* pipeline, float* pFrames, ma_uint32 frameCount)
{
    for (ma_uint32 i = 0; i < pipeline->nodeCount; ++i)
    {
        DspNode* node = &pipeline->nodes[i];
        if (node->vtable && node->vtable->onProcess)
        {
            node->vtable->onProcess(node->instanceData, pFrames, frameCount);
        }
    }
}


// miniaudio 硬件音频数据回调
void ma_audio_callback(ma_device* pDevice, void* pOutput, const void* pInput, ma_uint32 frameCount)
{
    DspPipeline* pipeline = (DspPipeline*)pDevice->pUserData;
    if (!pipeline || !pOutput) return;

    // 强转为连续的平面 float 指针进行 DSP 链式就地（In-place）处理
    float* pFloatOutput = (float*)pOutput;

    /*
       [业务拓展步]：如果是音频播放器，在此处将音频解码源数据读入到 pFloatOutput 中
       ma_decoder_read_pcm_frames(&decoder, pFloatOutput, frameCount, NULL);
    */

    // 喂入 DSP 流水线修改数据
    pipeline_process(pipeline, pFloatOutput, frameCount);
}

int main()
{
    // 1. 初始化本地数据实体（在栈上或全局分配，严格禁止在音频线程分配）
    DspPipeline pipeline;
    GainNodeData volumeNodeData = {
        .currentGain = 1.0f,
        .smoothingFactor = 0.01f,
        .channels = 2
    };
    atomic_init(&volumeNodeData.targetGain, 1.0f); // C11/C17 原子初始化

    // 2. 初始化流水线基础配置
    pipeline_init(&pipeline, 48000, 2);

    // 3. 将装配好的节点注册进流水线
    if (!pipeline_append_node(&pipeline, &g_GainNodeVTable, &volumeNodeData))
    {
        printf("Failed to append DSP node.\n");
        return -1;
    }

    // 4. 配置 miniaudio 设备
    ma_device_config deviceConfig = ma_device_config_init(ma_device_type_playback);
    deviceConfig.playback.format = ma_format_f32; // 工业规范：强制内部处理使用 float32
    deviceConfig.playback.channels = 2;
    deviceConfig.sampleRate = 48000;
    deviceConfig.dataCallback = ma_audio_callback;
    deviceConfig.pUserData = &pipeline;

    ma_device device;
    if (ma_device_init(NULL, &deviceConfig, &device) != MA_SUCCESS)
    {
        printf("Failed to initialize miniaudio device.\n");
        return -1;
    }

    // 确保流水线和硬件的采样率、通道数完全同步
    pipeline_init(&pipeline, device.sampleRate, device.playback.channels);

    // 5. 启动音频硬件线程
    if (ma_device_start(&device) != MA_SUCCESS)
    {
        printf("Failed to start audio device.\n");
        ma_device_uninit(&device);
        return -1;
    }

    printf("C17 Audio Pipeline is running. Testing smooth volume transition...\n");

    // 主线程业务代码：无锁、非阻塞地安全调整参数，音频线程内部会自动完成平滑淡出
    gain_node_set_gain(&volumeNodeData, 0.1f);
    sleep_ms(2000);

    // 平滑淡入
    gain_node_set_gain(&volumeNodeData, 0.8f);
    sleep_ms(2000);

    // 6. 清理退出
    ma_device_uninit(&device);
    printf("Pipeline shut down cleanly.\n");
    return 0;
}
```

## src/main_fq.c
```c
#define MINIAUDIO_IMPLEMENTATION
#include "miniaudio/miniaudio.h"
#ifdef USE_CMSIS_DSP
#include "arm_math.h"
#endif

#include <math.h>
#include <string.h>
#include <stdio.h>

// --- 配置常量 ---
#define SAMPLE_RATE         48000 // 原始采样率
#define BLOCK_SIZE          32    // 每次处理的采样点数（必须是 32 的整数倍）
#define DECIMATION_FACTOR   32    // 降采样因子 (48kHz -> 1.5kHz)
#define FIR_TAP_COUNT       192   // 核心低频 EQ FIR 阶数
#define ANTI_ALIAS_TAPS     64    // 抗混叠/镜像滤波器阶数

// --- 滤波器系数 ---
// 1. 核心低频 EQ FIR 滤波器系数（1.5kHz 采样率下的线性相位响应）
const float32_t firCoeffs[FIR_TAP_COUNT] = {
    -0.000017f, 0.000012f, 0.000007f, -0.000004f, 0.000006f, -0.000003f, -0.000002f, -0.000021f, -0.000015f, -0.000009f,
    -0.000057f, -0.000008f, -0.000010f, -0.000075f, 0.000036f, -0.000006f, -0.000071f, 0.000097f, -0.000023f,
    -0.000063f, 0.000136f, -0.000082f, -0.000055f, 0.000132f, -0.000159f, -0.000036f, 0.000090f, -0.000217f, -0.000014f,
    0.000009f, -0.000232f, -0.000021f, -0.000076f, -0.000164f, -0.000043f, -0.000063f, 0.000023f, -0.000071f, 0.000092f,
    0.000218f, -0.000214f, 0.000264f, 0.000155f, -0.000593f, 0.000336f, -0.000255f, -0.001023f, 0.000460f, -0.000739f,
    -0.001067f, 0.000840f, -0.001015f, -0.000577f, 0.001271f, -0.001165f, 0.000081f, 0.001277f, -0.001338f, 0.000496f,
    0.000732f, -0.001355f, 0.000468f, -0.000101f, -0.001086f, -0.000355f, -0.000992f, -0.000814f, -0.002315f,
    -0.001334f, -0.000519f, -0.004668f, 0.000535f, 0.000434f, -0.005879f, 0.005879f, 0.001211f, -0.006206f, 0.012679f,
    -0.002519f, -0.008560f, 0.016347f, -0.015756f, -0.013900f, 0.015416f, -0.038310f, -0.015668f, 0.014890f, -0.065229f,
    -0.000627f, 0.020588f, -0.099472f, 0.053901f, 0.030477f, -0.196605f, 0.463179f, 1.140402f, 0.463179f, -0.196605f,
    0.030477f, 0.053901f, -0.099472f, 0.020588f, -0.000627f, -0.065229f, 0.014890f, -0.015668f, -0.038310f, 0.015416f,
    -0.013900f, -0.015756f, 0.016347f, -0.008560f, -0.002519f, 0.012679f, -0.006206f, 0.001211f, 0.005879f, -0.005879f,
    0.000434f, 0.000535f, -0.004668f, -0.000519f, -0.001334f, -0.002315f, -0.000814f, -0.000992f, -0.000355f,
    -0.001086f, -0.000101f, 0.000468f, -0.001355f, 0.000732f, 0.000496f, -0.001338f, 0.001277f, 0.000081f, -0.001165f,
    0.001271f, -0.000577f, -0.001015f, 0.000840f, -0.001067f, -0.000739f, 0.000460f, -0.001023f, -0.000255f, 0.000336f,
    -0.000593f, 0.000155f, 0.000264f, -0.000214f, 0.000218f, 0.000092f, -0.000071f, 0.000023f, -0.000063f, -0.000043f,
    -0.000164f, -0.000076f, -0.000021f, -0.000232f, 0.000009f, -0.000014f, -0.000217f, 0.000090f, -0.000036f,
    -0.000159f, 0.000132f, -0.000055f, -0.000082f, 0.000136f, -0.000063f, -0.000023f, 0.000097f, -0.000071f, -0.000006f,
    0.000036f, -0.000075f, -0.000010f, -0.000008f, -0.000057f, -0.000009f, -0.000015f, -0.000021f, -0.000002f,
    -0.000003f, 0.000006f, -0.000004f, 0.000007f, 0.000012f, -0.000017f
};

// 2. 降采样/升采样抗混叠 FIR 滤波器系数（48kHz 采样率，截止频率约 600Hz）
const float32_t antiAliasCoeffs[ANTI_ALIAS_TAPS] = {
    0.001230f, 0.003420f, 0.005410f, // ...标准低通滤波器系数...
};

// --- CMSIS-DSP 状态缓冲区 ---
static float32_t decimatorState[BLOCK_SIZE + ANTI_ALIAS_TAPS - 1];
static float32_t interpolatorState[BLOCK_SIZE + ANTI_ALIAS_TAPS - 1];
static float32_t firEQState[(BLOCK_SIZE / DECIMATION_FACTOR) + FIR_TAP_COUNT - 1];

// --- CMSIS-DSP 实例结构体 ---
arm_fir_decimate_instance_f32 Decimator;
arm_fir_interpolate_instance_f32 Interpolator;
arm_fir_instance_f32 LowFreqEQ;

// --- 内部中间流缓冲区 ---
float32_t downsampledBuffer[BLOCK_SIZE / DECIMATION_FACTOR];
float32_t processedBuffer[BLOCK_SIZE / DECIMATION_FACTOR];

// --- 音频处理初始化 ---
void AudioProcessing_Init(void)
{
    // 1. 初始化降采样器 (48kHz -> 1.5kHz)
    arm_fir_decimate_init_f32(&Decimator, ANTI_ALIAS_TAPS, DECIMATION_FACTOR,
                              (float32_t*)&antiAliasCoeffs, decimatorState, BLOCK_SIZE);

    // 2. 初始化核心 0 相位低频 FIR EQ
    arm_fir_init_f32(&LowFreqEQ, FIR_TAP_COUNT, (float32_t*)&firCoeffs,
                     firEQState, (BLOCK_SIZE / DECIMATION_FACTOR));

    // 3. 初始化升采样器 (1.5kHz -> 48kHz)
    arm_fir_interpolate_init_f32(&Interpolator, DECIMATION_FACTOR, ANTI_ALIAS_TAPS,
                                 (float32_t*)&antiAliasCoeffs, interpolatorState, (BLOCK_SIZE / DECIMATION_FACTOR));
}

// --- 核心音频处理块（针对 32 个单声道采样点） ---
void Process_Audio_Block(float32_t* pInput, float32_t* pOutput)
{
    // 步骤 1: 抗混叠低通滤波并降采样 (32点 @ 48kHz -> 1点 @ 1.5kHz)
    arm_fir_decimate_f32(&Decimator, pInput, downsampledBuffer, BLOCK_SIZE);

    // 步骤 2: 在 1.5kHz 低采样率下进行高分辨率、无相位失真的 EQ 处理
    arm_fir_f32(&LowFreqEQ, downsampledBuffer, processedBuffer, (BLOCK_SIZE / DECIMATION_FACTOR));

    // 步骤 3: 升采样并滤除高频镜像 (1点 @ 1.5kHz -> 32点 @ 48kHz)
    arm_fir_interpolate_f32(&Interpolator, processedBuffer, pOutput, (BLOCK_SIZE / DECIMATION_FACTOR));
}

// --- Miniaudio 数据回调函数 ---
void data_callback(ma_device* pDevice, void* pOutput, const void* pInput, ma_uint32 frameCount)
{
    // 确保我们只处理单声道（Mono）的浮点数据
    float32_t* pInFloat = (float32_t*)pInput;
    float32_t* pOutFloat = (float32_t*)pOutput;

    // 这里的 frameCount 是 miniaudio 传进来的总帧数
    // 我们需要按 BLOCK_SIZE (32) 为一组切片进行循环处理
    ma_uint32 processedFrames = 0;
    while (processedFrames < frameCount)
    {
        // 如果最后一组数据不够 BLOCK_SIZE，直接拷贝不处理（或进行零填充，此处做简单拷贝）
        if ((frameCount - processedFrames) < BLOCK_SIZE)
        {
            for (ma_uint32 i = 0; i < (frameCount - processedFrames); ++i)
            {
                pOutFloat[processedFrames + i] = pInFloat[processedFrames + i];
            }
            break;
        }

        // 调用刚才的 CMSIS-DSP 低频 EQ 处理管道
        Process_Audio_Block(&pInFloat[processedFrames], &pOutFloat[processedFrames]);

        processedFrames += BLOCK_SIZE;
    }
}

// --- 主函数 ---
int main()
{
    // 1. 初始化音频算法状态
    AudioProcessing_Init();
    printf("CMSIS-DSP 低频 EQ 算法初始化成功...\n");

    // 2. 配置 Miniaudio 设备
    ma_device_config deviceConfig;
    // 选择全工模式（同时打开输入录音和输出播放）
    deviceConfig = ma_device_config_init(ma_device_type_duplex);
    deviceConfig.capture.format = ma_format_f32; // 必须使用 32位浮点数 对应 CMSIS-DSP
    deviceConfig.capture.channels = 1; // 单声道处理
    deviceConfig.playback.format = ma_format_f32;
    deviceConfig.playback.channels = 1;
    deviceConfig.sampleRate = SAMPLE_RATE; // 固定 48000 Hz
    deviceConfig.dataCallback = data_callback; // 绑定回调函数
    deviceConfig.periodSizeInFrames = BLOCK_SIZE; // 建议让 miniaudio 缓冲区对齐 BLOCK_SIZE

    // 3. 启动音频设备
    ma_device device;
    if (ma_device_init(NULL, &deviceConfig, &device) != MA_SUCCESS)
    {
        printf("无法初始化 Miniaudio 音频设备。\n");
        return -1;
    }

    if (ma_device_start(&device) != MA_SUCCESS)
    {
        printf("无法启动音频流。\n");
        ma_device_uninit(&device);
        return -1;
    }

    printf("低频无失真 EQ 正在运行。按回车键退出...\n");
    getchar();

    // 4. 清理并退出
    ma_device_uninit(&device);
    return 0;
}
```
